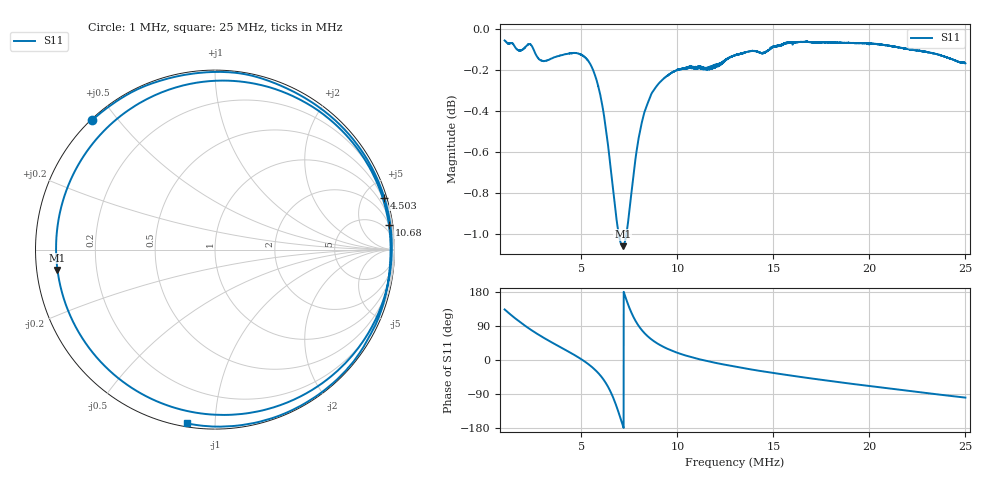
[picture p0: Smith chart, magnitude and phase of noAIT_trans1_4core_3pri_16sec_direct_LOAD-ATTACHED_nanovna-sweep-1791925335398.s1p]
! NanoVNA Web complex sweep
! Processing: unaveraged complex samples; linear segment spacing; no smoothing
# Hz S RI R 50
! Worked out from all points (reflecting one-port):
!   5050 points, 1 MHz to 25 MHz, reference 50 ohm
!   lowest |S11| = -1.1 dB at 7.155 MHz (marker M1), VSWR 16.39, Z = 3.06 - j3.22 ohm
!   phase of S11 starts at 133 deg and turns -593 deg over the sweep
!   S11 on the Smith chart (normalised r, x): 1 MHz: 0.00, +0.43; 4.503 MHz: 0.31, +6.65; 10.68 MHz: 2, +14; 25 MHz: 0.02, -0.85
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1000000  -0.6832 0.7216
1617890  -0.2939 0.9443
2283310  0.1271 0.9835
3143603  0.5571 0.8092
4003896  0.8437 0.5093
4502961  0.9431 0.2894
5353748  0.9656 -0.1807
5681705  0.8875 -0.4041
5962132  0.7466 -0.6106
6280583  0.4512 -0.8304
6584775  -0.017 -0.919
6793907  -0.4173 -0.7988
7003039  -0.7584 -0.4622
7155135  -0.8776 -0.1138
7330996  -0.8393 0.2973
7549634  -0.5979 0.6822
7735001  -0.3315 0.8616
7939380  -0.0529 0.9366
8324373  0.3448 0.8912
8761649  0.62 0.741
9303491  0.8077 0.5421
1.000218e7  0.9243 0.3179
1.068186e7  0.9694 0.1383
1.300132e7  0.9397 -0.2967
1.600047e7  0.7401 -0.6596
1.899961e7  0.4612 -0.8786
2.199875e7  0.1491 -0.9775
2.49979e7  -0.1575 -0.9682
